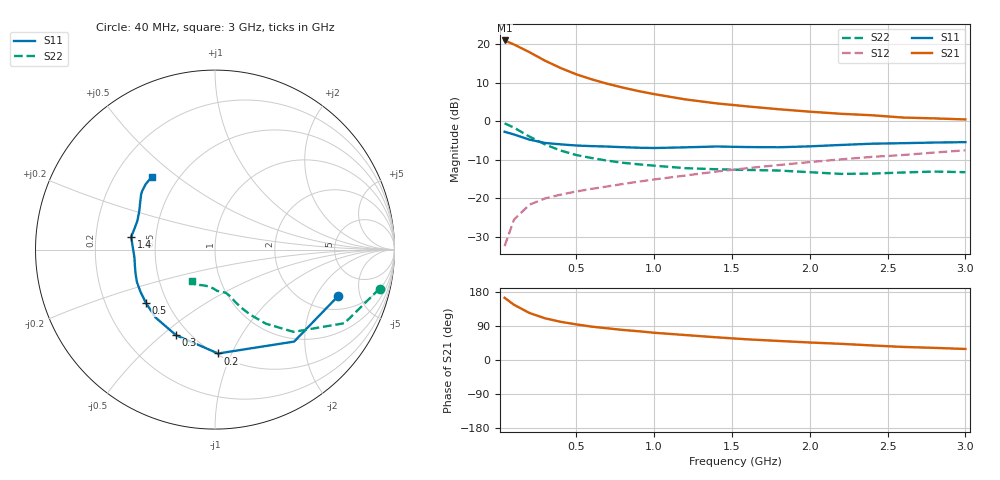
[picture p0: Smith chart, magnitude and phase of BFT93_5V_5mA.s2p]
! Filename:  BFT93A.S2P  Version:  2.0
! Philips part #: BFT93  Date: May 1990
! Bias condition: Vce=-5V, Ic=-5mA
#  MHz  S  MA  R  50
! Freq  S11  S21  S12  S22  !GUM [dB]
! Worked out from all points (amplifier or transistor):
!   21 points, 40 MHz to 3 GHz, reference 50 ohm
!   highest |S21| = 21.0 dB at 40 MHz (marker M1)
!   |S21| within 3 dB of that: start of sweep to 197.5 MHz
!   unconditionally stable (mu >= 1): 964.9 MHz to 2.383 GHz
!   at 300 MHz: K = 0.53, MSG = 17.9 dB, |S12| = -20.0 dB
!   at 1 GHz: K = 1.01, MAG = 10.4 dB, |S12| = -15.1 dB
!   at 3 GHz: K = 0.95, MSG = 4.0 dB, |S12| = -7.5 dB
!   S11 on the Smith chart (normalised r, x): 40 MHz: 2.79, -3.12; 200 MHz: 0.51, -0.89; 300 MHz: 0.42, -0.56; 500 MHz: 0.38, -0.30; 1.4 GHz: 0.36, +0.07; 3 GHz: 0.36, +0.41
40  0.733 -20.7  11.22 164.1  0.024 79.1  0.943 -13.3
100  0.676 -49.3  9.95 145.8  0.053 65.3  0.83 -29.6
200  0.579 -88.3  7.896 124.0  0.083 53.6  0.634 -46.3
300  0.524 -114.5  6.122 110.0  0.1 48.7  0.501 -55.5
400  0.503 -131.3  4.922 100.8  0.112 47.6  0.418 -61.1
500  0.486 -142.4  4.082 94.0  0.123 47.6  0.366 -64.8
600  0.477 -150.7  3.508 88.0  0.133 48.2  0.334 -67.1
700  0.471 -157.5  3.076 83.6  0.143 49.5  0.309 -69.2
800  0.462 -163.5  2.741 79.3  0.154 50.7  0.29 -70.4
900  0.455 -168.9  2.472 75.9  0.165 51.7  0.277 -71.7
1000  0.451 -174.3  2.258 71.9  0.176 52.4  0.266 -72.9
1200  0.46 177.3  1.929 65.9  0.198 53.8  0.247 -76.3
1400  0.472 171.2  1.713 59.9  0.223 54.5  0.239 -80.6
1600  0.464 165.9  1.563 54.5  0.247 54.9  0.234 -84.0
1800  0.461 159.8  1.437 50.3  0.271 55.0  0.23 -87.2
2000  0.474 152.8  1.336 46.2  0.296 54.9  0.219 -91.4
2200  0.494 147.5  1.254 42.7  0.321 54.6  0.208 -99.0
2400  0.513 143.4  1.2 38.4  0.346 53.6  0.21 -108.4
2600  0.521 141.1  1.12 34.5  0.366 52.4  0.217 -115.3
2800  0.531 136.8  1.093 32.0  0.394 51.7  0.223 -120.0
3000  0.537 131.1  1.059 29.1  0.421 50.6  0.219 -126.5
